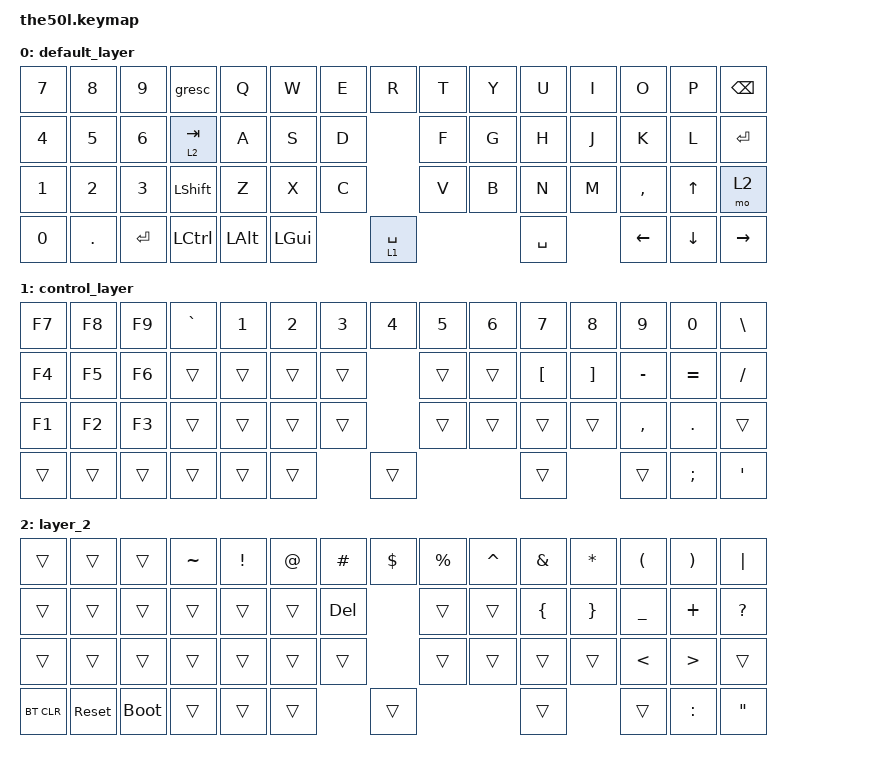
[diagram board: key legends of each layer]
/*
 * Copyright (c) 2023 LAZYDESIGNERS
 *
 * SPDX-License-Identifier: MIT
 */

#include <behaviors.dtsi>
#include <dt-bindings/zmk/keys.h>
#include <dt-bindings/zmk/bt.h>

/ {
    keymap {
        compatible = "zmk,keymap";

        default_layer {
            // ---------------------------------------------------------------------------------------------
            // | 7  |  8  |  9  | ESC |  Q  |  W  |  E  |  R  |  T  |  Y  |  U  |  I  |  O  |  P  |  BSPC  |
            // | 4  |  5  |  6  | TAB  |  A  |  S  |  D  |  F  |  G  |  H  |  J  |  K  |  L  |    ENTER    |
            // | 1  |  2  |  3  | SHIFT  |  Z  |  X  |  C  |  V  |  B  |  N  |  M  |  ,  |  UP  |  SHIFT   |
            // | 0  |  .  |ENTER| CTL  |  WIN  |  ALT  |    SPACE   |    SPACE   |  LEFT | DOWN  |  RIGHT  |
            // ---------------------------------------------------------------------------------------------

            bindings = <
&kp N7   &kp N8   &kp N9     &gresc     &kp Q     &kp W  &kp E        &kp R  &kp T  &kp Y      &kp U  &kp I      &kp O     &kp P   &kp BSPC
&kp N4   &kp N5   &kp N6  &lt 2 TAB     &kp A     &kp S  &kp D        &kp F  &kp G  &kp H      &kp J  &kp K      &kp L              &kp RET
&kp N1   &kp N2   &kp N3  &kp LSHFT               &kp Z  &kp X        &kp C  &kp V  &kp B      &kp N  &kp M  &kp COMMA    &kp UP      &mo 2
&kp N0  &kp DOT  &kp RET  &kp LCTRL  &kp LALT  &kp LGUI         &lt 1 SPACE                &kp SPACE          &kp LEFT  &kp DOWN  &kp RIGHT
            >;
        };

        control_layer {
            // ---------------------------------------------------------------------------------------------
            // | 7  |  8  |  9  | ESC |  Q  |  W  |  E  |  R  |  T  |  Y  |  U  |  I  |  O  |  P  |  BSPC  |
            // | 4  |  5  |  6  | TAB  |  A  |  S  |  D  |  F  |  G  |  H  |  J  |  K  |  L  |    ENTER    |
            // | 1  |  2  |  3  | SHIFT  |  Z  |  X  |  C  |  V  |  B  |  N  |  M  |  ,  |  UP  |  SHIFT   |
            // | 0  |  .  |ENTER| CTL  |  WIN  |  ALT  |    SPACE   |    SPACE   |  LEFT | DOWN  |  RIGHT  |
            // ---------------------------------------------------------------------------------------------

            bindings = <
&kp F7  &kp F8  &kp F9  &kp GRAVE  &kp N1  &kp N2  &kp N3  &kp N4  &kp N5            &kp N6             &kp N7     &kp N8     &kp N9      &kp N0     &kp BACKSLASH
&kp F4  &kp F5  &kp F6     &trans  &trans  &trans  &trans  &trans  &trans  &kp LEFT_BRACKET  &kp RIGHT_BRACKET  &kp MINUS  &kp EQUAL                     &kp SLASH
&kp F1  &kp F2  &kp F3     &trans          &trans  &trans  &trans  &trans            &trans             &trans     &trans  &kp COMMA  &kp PERIOD            &trans
&trans  &trans  &trans     &trans  &trans  &trans          &trans                                       &trans                &trans    &kp SEMI  &kp SINGLE_QUOTE
            >;
        };

        layer_2 {
            bindings = <
    &trans      &trans       &trans  &kp TILDE  &kp EXCLAMATION  &kp AT  &kp HASH  &kp DOLLAR  &kp PERCENT       &kp CARET    &kp AMPERSAND   &kp STAR  &kp LEFT_PARENTHESIS  &kp RIGHT_PARENTHESIS           &kp PIPE
    &trans      &trans       &trans     &trans           &trans  &trans   &kp DEL      &trans       &trans  &kp LEFT_BRACE  &kp RIGHT_BRACE  &kp UNDER              &kp PLUS                              &kp QUESTION
    &trans      &trans       &trans     &trans                   &trans    &trans      &trans       &trans          &trans           &trans     &trans         &kp LESS_THAN       &kp GREATER_THAN             &trans
&bt BT_CLR  &sys_reset  &bootloader     &trans           &trans  &trans                &trans                                        &trans                           &trans              &kp COLON  &kp DOUBLE_QUOTES
            >;
        };
    };
};
